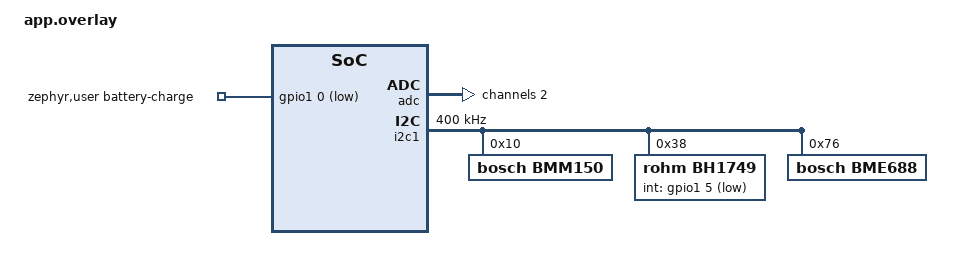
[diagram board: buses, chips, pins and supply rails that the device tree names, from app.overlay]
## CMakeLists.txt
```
#
# Copyright (c) 2020 Nordic Semiconductor ASA
#
# SPDX-License-Identifier: LicenseRef-Nordic-5-Clause
#
cmake_minimum_required(VERSION 3.20.0)

#default board can be overriden by -b
set(BOARD thingy53_nrf5340_cpuapp)
set(DTC_OVERLAY_FILE app.overlay)

find_package(Zephyr REQUIRED HINTS $ENV{ZEPHYR_BASE})

project(openthread_cli)

FILE(GLOB app_sources src/*.c src/*.cpp)
target_sources(app PRIVATE ${app_sources})
```

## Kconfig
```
#
# Copyright (c) 2020 Nordic Semiconductor ASA
#
# SPDX-License-Identifier: LicenseRef-Nordic-5-Clause
#

menu "Zephyr Kernel"
source "Kconfig.zephyr"
endmenu

module = SONSORS_SERVER
module-str = sensor_server
source "${ZEPHYR_BASE}/subsys/logging/Kconfig.template.log_config"

config SONSORS_SERVER_LOW_POWER
	bool "Enable low power mode for the CLI sample"
```

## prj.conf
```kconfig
#
# Copyright (c) 2020 Nordic Semiconductor
#
# SPDX-License-Identifier: LicenseRef-Nordic-5-Clause
#

#App
CONFIG_APP_BATTERY=y
CONFIG_APP_LED=y
CONFIG_APP_OT=y
CONFIG_JSON_ENDPOINT=y
CONFIG_UDP_BROADCAST=y

#Persist BSEC2 state on flash
CONFIG_APP_FLASH=y
CONFIG_FLASH=y
CONFIG_MPU_ALLOW_FLASH_WRITE=y
CONFIG_FLASH_PAGE_LAYOUT=y
CONFIG_SOC_FLASH_NRF_EMULATE_ONE_BYTE_WRITE_ACCESS=y

#App dependencies
CONFIG_PWM=y
CONFIG_GPIO=y
CONFIG_ADC=y

#Light Sensor
CONFIG_I2C=y
CONFIG_SENSOR=y
CONFIG_BH1749=y
CONFIG_BME688=y
CONFIG_BME688_SERVER=y
CONFIG_BME688_BSEC2=y

# --------- OpenThread ------------
CONFIG_OPENTHREAD_NORDIC_LIBRARY_MASTER=y
CONFIG_NETWORKING=y
CONFIG_NET_L2_OPENTHREAD=y

# --------- OpenThread Device ------------
CONFIG_OPENTHREAD_NORDIC_LIBRARY_FTD=y
CONFIG_OPENTHREAD_FTD=y
CONFIG_OPENTHREAD_MTD=n
CONFIG_OPENTHREAD_MANUAL_START=n
CONFIG_OPENTHREAD_DEFAULT_TX_POWER=8

# --------- OpenThread Joiner ------------
CONFIG_OPENTHREAD_JOINER=y
CONFIG_OPENTHREAD_JOINER_AUTOSTART=y
CONFIG_OPENTHREAD_JOINER_PSKD="ABCDE2"
CONFIG_OPENTHREAD_SLAAC=y
# --------- ------------ ------------

# Sockets needed for UDP communication
CONFIG_NET_SOCKETS=y
CONFIG_NET_SOCKETS_POLL_MAX=5
CONFIG_NET_SOCKETS_POSIX_NAMES=y

CONFIG_NET_IPV6=y
CONFIG_NET_CONFIG_NEED_IPV6=y

# Use nrf_security
#CONFIG_OPENTHREAD_NRF_SECURITY_CHOICE=y

CONFIG_MBEDTLS_SHA1_C=n
CONFIG_FPU=y

# Default PRNG entropy for nRF53 Series devices is CSPRNG CC312
# which for that purpose is too slow yet
# Use Xoroshiro128+ as PRNG
CONFIG_XOROSHIRO_RANDOM_GENERATOR=y

#C++
CONFIG_CPLUSPLUS=y
CONFIG_LIB_CPLUSPLUS=y

CONFIG_EXCEPTIONS=y
CONFIG_NEWLIB_LIBC=y
CONFIG_NEWLIB_LIBC_NANO=n

#for future 3.3 
#CONFIG_CPP_EXCEPTIONS=y
#CONFIG_CPP=y
#CONFIG_LIBCPP_IMPLEMENTATION=y

CONFIG_STD_CPP11=n
CONFIG_STD_CPP17=y

#Stack
CONFIG_MAIN_STACK_SIZE=8192

#safe silence of ABI change warning as using gcc > 7 https://github.com/nlohmann/json/issues/1861
CONFIG_COMPILER_OPT="-Wno-psabi"

#print float
CONFIG_NEWLIB_LIBC_FLOAT_PRINTF=y
```

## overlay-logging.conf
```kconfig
#
# Copyright (c) 2021 Nordic Semiconductor
#
# SPDX-License-Identifier: LicenseRef-Nordic-5-Clause
# Enable Zephyr logging
CONFIG_LOG=y

# Use separate thread for logging
CONFIG_LOG_MODE_DEFERRED=y

# Increase max log level to informative
CONFIG_LOG_MAX_LEVEL=3

# Option for configuring log level in this sample
CONFIG_SONSORS_SERVER_LOG_LEVEL_INF=y

# Enable net module logging
CONFIG_NET_LOG=y
# Option for configuring log level in net config library
CONFIG_NET_CONFIG_LOG_LEVEL_INF=y
# Enable OpenThread logging
CONFIG_OPENTHREAD_DEBUG=y
# Option for configuring log level in OpenThread
CONFIG_OPENTHREAD_LOG_LEVEL_INFO=y

#CONFIG_BME688_BSEC2_LOG_LEVEL_OFF=y
```

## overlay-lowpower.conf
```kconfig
# Networking options
CONFIG_NET_IPV6_NBR_CACHE=n
CONFIG_NET_IPV6_MLD=n
CONFIG_NET_SOCKETS=y
CONFIG_NET_SOCKETS_POLL_MAX=5
CONFIG_NET_SOCKETS_POSIX_NAMES=y

CONFIG_NET_CONNECTION_MANAGER=n
CONFIG_NET_IPV4=n
CONFIG_NET_IPV6=y
CONFIG_NET_CONFIG_NEED_IPV6=y


# --------- OpenThread Device ------------
CONFIG_OPENTHREAD_NORDIC_LIBRARY_MTD=y
CONFIG_OPENTHREAD_MTD=y
CONFIG_OPENTHREAD_FTD=n

CONFIG_OPENTHREAD_DEFAULT_TX_POWER=0
# --------- ------------ ------------
```

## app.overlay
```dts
/*
 * Copyright (c) 2021 Nordic Semiconductor ASA
 *
 * SPDX-License-Identifier: LicenseRef-Nordic-5-Clause
 */

/ {
	zephyr,user {
		battery-charge-gpios = <&gpio1 0 (GPIO_PULL_UP | GPIO_ACTIVE_LOW)>;
	};
};

&adc {
	#address-cells = <1>;
	#size-cells = <0>;

	channel@2 {
		reg = <2>;
		zephyr,gain = "ADC_GAIN_1";
		zephyr,reference = "ADC_REF_INTERNAL";
		zephyr,acquisition-time = <ADC_ACQ_TIME(ADC_ACQ_TIME_MICROSECONDS, 40)>;
		zephyr,input-positive = <NRF_SAADC_AIN2>;
		zephyr,resolution = <12>;
		zephyr,oversampling = <4>;
	};
};

&i2c1 {
	compatible = "nordic,nrf-twim";
	status = "okay";
	clock-frequency = <I2C_BITRATE_FAST>;

	pinctrl-0 = <&i2c1_default>;
	pinctrl-1 = <&i2c1_sleep>;
	pinctrl-names = "default", "sleep";
	bmm150: bmm150@10 {
		compatible = "bosch,bmm150";
		reg = <0x10>;
	};

	bh1749@38 {
		compatible = "rohm,bh1749";
		reg = <0x38>;
		int-gpios = <&gpio1 5 (GPIO_PULL_UP | GPIO_ACTIVE_LOW)>;
	};

	bme688@76 {
		compatible = "bosch,bme688";
		reg = <0x76>;
	};
};
```

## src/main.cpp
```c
/*
 * Copyright (c) 2020 Nordic Semiconductor ASA
 *
 * SPDX-License-Identifier: LicenseRef-Nordic-5-Clause
 */

#include <zephyr/kernel.h>
#include <zephyr/logging/log.h>
#include <stdio.h>
#include "json_endpoint.h"
#include "app_ot.h"
#include "app_led.h"
#include "app_battery.h"
#include "udp_broadcast.h"
#include <json.hpp>
#include <zephyr/device.h>
#include <zephyr/drivers/sensor.h>
#include "bme688_server.h"


using json = nlohmann::json;

LOG_MODULE_REGISTER(sensor_server_sample, CONFIG_SONSORS_SERVER_LOG_LEVEL);

#define LED_PWM_RATIO 0.5
#define SLEEP_DELAY_SEC 20

const struct device *sensor_dev_bh1749;
const struct device *sensor_dev_bme688;
char uid_text[20];


void init_uid(char*text){
	long unsigned int id0 = NRF_FICR->INFO.DEVICEID[0];//just for type casting and readable printing
	long unsigned int id1 = NRF_FICR->INFO.DEVICEID[1];
	sprintf(text,"%08lX%08lX",id0,id1);
	LOG_INF("Device ID:%s",text);
}

void send_data(std::string topic,json &data){
	std::string message = topic+data.dump();
	send_udp(message);
	LOG_INF("send_data> %s",message.c_str());
}

void app_bh1749_init(){
	sensor_dev_bh1749 = DEVICE_DT_GET_ONE(rohm_bh1749);
	if (!device_is_ready(sensor_dev_bh1749)) {
		printk("Sensor device bh1749 not ready\n");
		return;
	}
}

void bh1749_get_values(int32_t &r,int32_t &g,int32_t &b,int32_t &ir){
	int ret;
	struct sensor_value temp_val;
	ret = sensor_sample_fetch_chan(sensor_dev_bh1749, SENSOR_CHAN_ALL);
	/* The sensor does only support fetching SENSOR_CHAN_ALL */
	if (ret) {
		printk("sensor_sample_fetch failed ret %d\n", ret);
		return;
	}

	ret = sensor_channel_get(sensor_dev_bh1749, SENSOR_CHAN_RED, &temp_val);
	if (ret) {
		printk("sensor_channel_get failed ret %d\n", ret);
		return;
	}
	r = temp_val.val1;
	ret = sensor_channel_get(sensor_dev_bh1749, SENSOR_CHAN_GREEN, &temp_val);
	if (ret) {
		printk("sensor_channel_get failed ret %d\n", ret);
		return;
	}
	g = temp_val.val1;

	ret = sensor_channel_get(sensor_dev_bh1749, SENSOR_CHAN_BLUE, &temp_val);
	if (ret) {
		printk("sensor_channel_get failed ret %d\n", ret);
		return;
	}
	b = temp_val.val1;

	ret = sensor_channel_get(sensor_dev_bh1749, SENSOR_CHAN_IR, &temp_val);
	if (ret) {
		printk("sensor_channel_get failed ret %d\n", ret);
		return;
	}
	ir = temp_val.val1;
}

void json_endpoint_handler(std::string &client, std::string &topic, json &request, json &response){
	LOG_INF("json_endpoint_handler()");
	response = request;
	response["result"] = "OK";
}


void bme688_handler(json &data){
	static int subsample_count = 0;
	subsample_count++;
	if((subsample_count%10) == 0){
		std::string topic = "thread_tags/"+std::string(uid_text)+"/env";
		send_data(topic.c_str(),data);
	}
}

void led_notify_ot_role(){
		otDeviceRole role = ot_app_role();
		if(role == OT_DEVICE_ROLE_DISABLED){
			app_led_blink_red(LED_PWM_RATIO,300,900);
			app_led_blink_red(LED_PWM_RATIO,300,900);
			app_led_blink_red(LED_PWM_RATIO,300,900);
			LOG_INF("role: Disabled");
		}else if(role == OT_DEVICE_ROLE_DETACHED){
			app_led_blink_blue(LED_PWM_RATIO,300,600);
			app_led_blink_blue(LED_PWM_RATIO,300,600);
			LOG_INF("role: Detached");
		}else if(role == OT_DEVICE_ROLE_CHILD){
			app_led_blink_green(LED_PWM_RATIO,400,600);
			LOG_INF("role: Child");
		}else if(role == OT_DEVICE_ROLE_ROUTER){
			app_led_blink_color(0.01,0.89,0.87,400,600);//#03E2DD
			LOG_INF("role: Router");
		}else if(role == OT_DEVICE_ROLE_LEADER){
			app_led_blink_color(0.49,0.46,0.97,400,600);//#7E77F8
			LOG_INF("role: Leader");
		}else{
			app_led_blink_red(LED_PWM_RATIO,100,100);
			app_led_blink_red(LED_PWM_RATIO,100,100);
			app_led_blink_red(LED_PWM_RATIO,100,100);
			LOG_INF("role: Unknown");
		}
}

int main(void)
{
	LOG_INF(R"(
	main(1)
	sensors server sample
	)");

	init_uid(uid_text);
	app_ot_init();//logs joiner info and initializes reset buttons
	app_led_init();
	app_battery_init();
	app_bh1749_init();
	set_endpoint_handler(json_endpoint_handler);
	start_bme688(bme688_handler);

	app_led_blink_red(LED_PWM_RATIO,300,100);
	app_led_blink_blue(LED_PWM_RATIO,300,100);
	app_led_blink_green(LED_PWM_RATIO,300,100);

	int count = 0;
	std::string topic;
	while(1){
		json data;
		
		//state
		data["alive"] = count++;
		char voltage[10];
		app_battery_voltage_text(voltage);
		bool is_charging = app_battery_charging();
		data["voltage"] = voltage;
		data["charging"] = is_charging;
		topic = "thread_tags/"+std::string(uid_text)+"/state";
		send_data(topic.c_str(),data);
		data = {};
		k_sleep(K_MSEC(5000));

		//light
		int32_t r,g,b,ir;
		bh1749_get_values(r,g,b,ir);
		data["light_red"] = r;
		data["light_green"] = g;
		data["light_blue"] = b;
		data["light_ir"] = ir;
		topic = "thread_tags/"+std::string(uid_text)+"/light";
		send_data(topic.c_str(),data);
		data = {};

		led_notify_ot_role();
		k_sleep(K_MSEC(SLEEP_DELAY_SEC*1000));
	}
}
```
